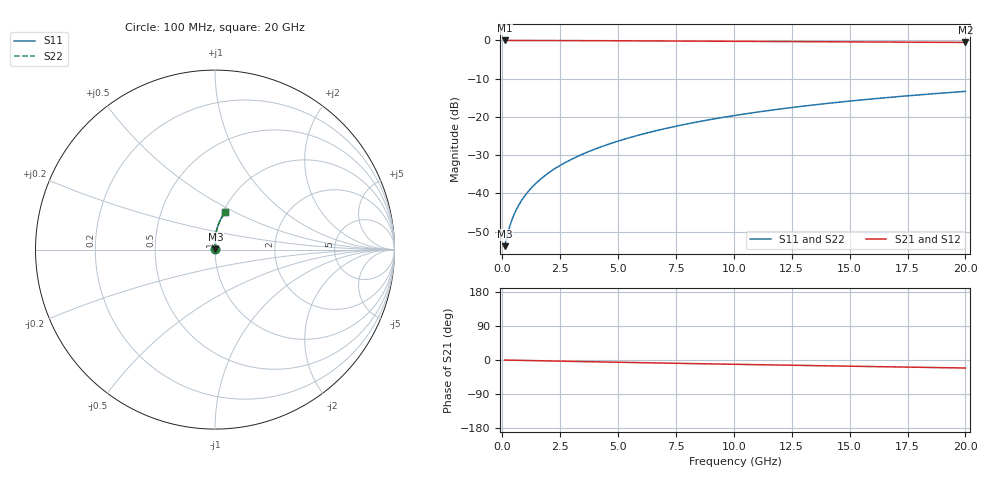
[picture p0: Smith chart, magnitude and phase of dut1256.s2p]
! Touchstone file exported from HFSS 2024.1.0
!  File:  C:/UserFiles/LocalFiles/RDL_TSV_Batchsim/temp_RDL_top_1256_1780241575.aedt
!  Generated:  11:35:29 PM May 31, 2026
!  Design:  RDL_top
!  Project:  temp_RDL_top_1256_1780241575
!  Setup:  Setup1
!  Solution:  Sweep
! Variables:
!  dtsv = 10.80580581um
!  hbump = 3um
!  htsv = 55.95um
!  ldown = 100um
!  lrdl = 280.74um
!  p = 40
!  p1 = 46.98um
!  rhole = 1um
!  t = 450um
!  tdown = 3.915915916um
!  trdl = 2.86um
!  wdown = 15.38538539um
!  wrdl = 23.26um
# GHz S MA R 50.000000
! Terminal data exported
! Port[1] = Box2_T1
! Port[2] = Box2_T2
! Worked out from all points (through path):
!   200 points, 100 MHz to 20 GHz, reference 50 ohm
!   highest |S21| = -0.02 dB at 100 MHz (marker M1); lowest = -0.5 dB at 20 GHz (marker M2)
!   group delay of S21, straight-line fit = 2.91 ps
!   lowest |S11| = -53.8 dB at 100 MHz (marker M3), VSWR 1.00, Z = 50.2 + j0.103 ohm
!   |S11| at or under -10 dB: start of sweep to end of sweep
!   |S22| runs from -53.8 to -13.3 dB; largest |S21 - S12| = 4.1e-15
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0.1  0.00205 30.0  0.9982 -0.1  0.9982 -0.1  0.00205 30.0
! Gamma 0 0 0 0
! Port Impedance 50 0 50 0
0.2  0.002734 47.8  0.9981 -0.3  0.9981 -0.3  0.002734 47.8
0.3  0.003546 57.4  0.998 -0.4  0.998 -0.4  0.003546 57.4
0.4  0.004391 63.2  0.9979 -0.5  0.9979 -0.5  0.004391 63.2
0.5  0.005243 67.2  0.9978 -0.6  0.9978 -0.6  0.005243 67.2
0.6  0.006097 70.1  0.9977 -0.8  0.9977 -0.8  0.006097 70.1
0.8  0.007819 74.3  0.9975 -1.0  0.9975 -1.0  0.007819 74.3
1.1  0.01044 78.3  0.9972 -1.4  0.9972 -1.4  0.01044 78.3
1.3  0.01222 80.1  0.997 -1.6  0.997 -1.6  0.01222 80.1
1.6  0.01492 82.2  0.9967 -2.0  0.9967 -2.0  0.01492 82.2
2.1  0.01952 84.5  0.9959 -2.6  0.9959 -2.6  0.01952 84.5
2.7  0.02519 86.2  0.9948 -3.3  0.9948 -3.3  0.02519 86.2
3.5  0.03299 87.5  0.9931 -4.2  0.9931 -4.2  0.03299 87.5
4.2  0.04004 88.2  0.9913 -5.1  0.9913 -5.1  0.04004 88.2
5  0.04835 88.5  0.989 -6.0  0.989 -6.0  0.04835 88.5
5.9  0.05798 88.5  0.9863 -7.0  0.9863 -7.0  0.05798 88.5
6.8  0.06785 88.2  0.9835 -8.0  0.9835 -8.0  0.06785 88.2
8.4  0.08583 87.2  0.9783 -9.7  0.9783 -9.7  0.08583 87.2
10.1  0.1053 85.6  0.9727 -11.4  0.9727 -11.4  0.1053 85.6
13.4  0.143 82.1  0.9621 -14.8  0.9621 -14.8  0.143 82.1
16.7  0.18 78.4  0.9515 -18.0  0.9515 -18.0  0.18 78.4
20  0.2157 74.7  0.9407 -21.2  0.9407 -21.2  0.2157 74.7
